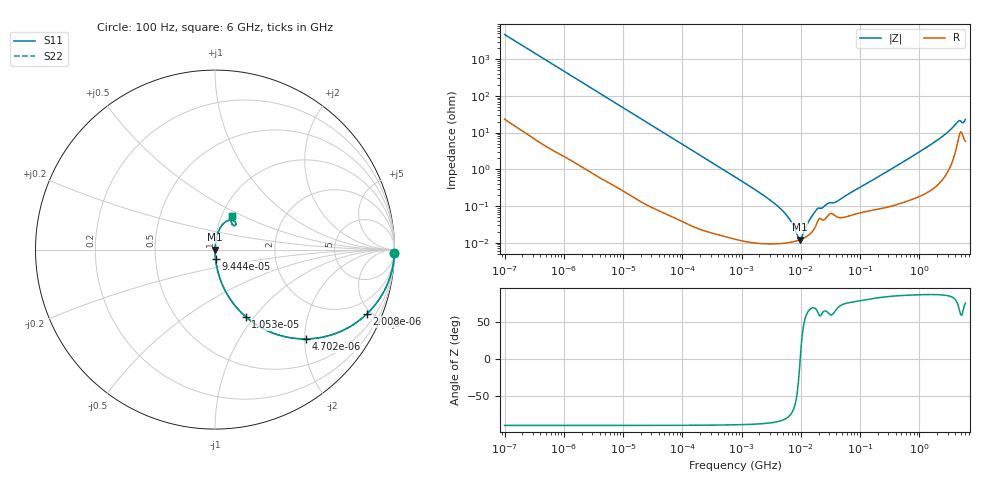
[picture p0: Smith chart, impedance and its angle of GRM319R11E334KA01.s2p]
!Murata Part Number: GRM319R11E334KA01
!These Parameters are Measured in Series Mode Connection
!Data Generated on Mar 30, 2021
!  o--ll--o
!Port1  Port2
!  o------o
!Operation Temp=25[degC], DC Bias Voltage=0[V]
!Freq. Start=100[Hz] Stop=6[GHz] 401[Steps]
# Hz S RI R 50
!Freq.(Hz) S11(Real) S11(Imag) S21(Real) S21(Imag) S12(Real) S12(Imag) S22(Real) S22(Imag)
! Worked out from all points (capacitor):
!   401 points, 100 Hz to 6 GHz, reference 50 ohm
!   read as one part in series: C = 338 nF near 109 Hz
!   lowest |Z| = 12.2 mohm at 9.506 MHz (marker M1)
!   series resonance near 9.773 MHz, so ESL is about 780 pH
!   S11 on the Smith chart (normalised r, x): 100 Hz: 1, -94; 2.008 kHz: 1.02, -4.72; 4.702 kHz: 1.01, -2.02; 10.53 kHz: 1.00, -0.90; 94.44 kHz: 1.00, -0.10; 6 GHz: 1.12, +0.44
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100  0.9994 -0.0213  0.000558 0.0213  0.000558 0.0213  0.9994 -0.0213
548  0.9862 -0.1145  0.0138 0.1145  0.0138 0.1145  0.9862 -0.1145
1174  0.941 -0.2333  0.059 0.2333  0.059 0.2333  0.941 -0.2333
2008  0.8464 -0.3581  0.1536 0.3581  0.1536 0.3581  0.8464 -0.3581
4702  0.5049 -0.4975  0.4951 0.4975  0.4951 0.4975  0.5049 -0.4975
10527  0.1712 -0.374  0.8288 0.374  0.8288 0.374  0.1712 -0.374
18841  0.0614 -0.2373  0.9386 0.2373  0.9386 0.2373  0.0614 -0.2373
40335  0.0146 -0.1167  0.9854 0.1167  0.9854 0.1167  0.0146 -0.1167
94437  0.00296 -0.0506  0.997 0.0506  0.997 0.0506  0.00296 -0.0506
774597  0.000163 -0.00621  0.9998 0.00621  0.9998 0.00621  0.000163 -0.00621
2372521  9.77e-05 -0.00193  0.9999 0.00193  0.9999 0.00193  9.77e-05 -0.00193
4440638  9.54e-05 -0.000871  0.9999 0.000871  0.9999 0.000871  9.54e-05 -0.000871
6353432  0.000101 -0.000444  0.9999 0.000444  0.9999 0.000444  0.000101 -0.000444
9506416  0.000119 -2.77e-05  0.9999 2.77e-05  0.9999 2.77e-05  0.000119 -2.77e-05
1.039699e7  0.000126 6.3e-05  0.9999 -6.3e-05  0.9999 -6.3e-05  0.000126 6.3e-05
1.555665e7  0.000199 0.000508  0.9998 -0.000508  0.9998 -0.000508  0.000199 0.000508
1.946e7  0.000399 0.000768  0.9996 -0.000768  0.9996 -0.000768  0.000399 0.000768
4.165952e7  0.000499 0.00127  0.9995 -0.00127  0.9995 -0.00127  0.000499 0.00127
3.124326e8  0.00105 0.00941  0.999 -0.00941  0.999 -0.00941  0.00105 0.00941
1.873145e9  0.00656 0.0568  0.9934 -0.0568  0.9934 -0.0568  0.00656 0.0568
4.385646e9  0.0755 0.1628  0.9245 -0.1628  0.9245 -0.1628  0.0755 0.1628
6e9  0.0939 0.1885  0.9061 -0.1885  0.9061 -0.1885  0.0939 0.1885
